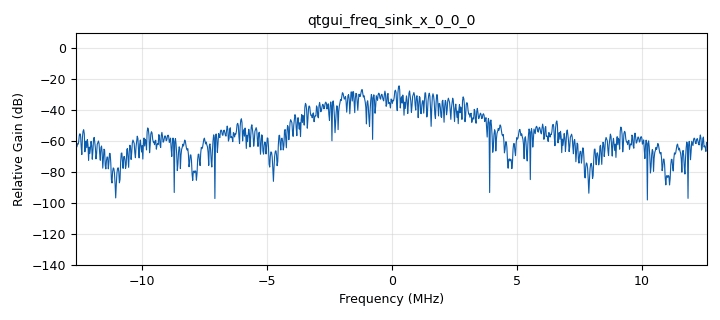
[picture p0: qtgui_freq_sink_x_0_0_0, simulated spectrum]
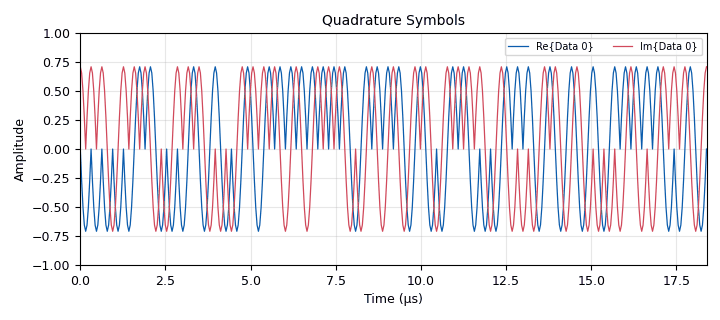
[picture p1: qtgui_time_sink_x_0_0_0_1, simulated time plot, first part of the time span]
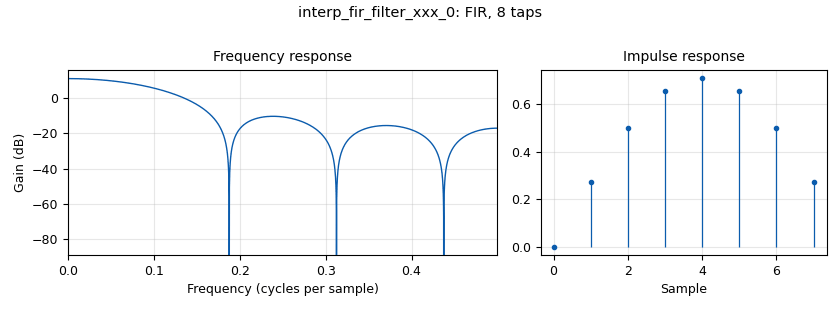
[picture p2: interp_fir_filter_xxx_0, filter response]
options:
  parameters:
    author: Jared Boone
    copyright: '(C) 2024 Jared Boone. License: Creative Commons Zero, version 1.0'
    description: Modulate a bitstream for transmission to a NABU Network Adapter "Cable Input"
    generate_options: qt_gui
    id: nabu_oqpsk_modulator
    output_language: python
    title: NABU Network OQPSK Modulator
  states: {}

blocks:
- name: delay
  id: variable_qtgui_range
  parameters:
    rangeType: int
    start: '-samples_per_symbol'
    step: '1'
    stop: samples_per_symbol
    value: samples_per_symbol // 2
  states: {}
- name: i_delay
  id: variable
  parameters:
    value: max(0, -delay)
  states: {}
- name: oqpsk_constellation
  id: variable_constellation
  parameters:
    comment: |-
      OQPSK constellation
      from Wikipedia
      (Inverted? 00 in -1-1j quadrant.)
    const_points: '[-1-1j, -1+1j, 1+1j, 1-1j]'
    dims: '1'
    normalization: digital.constellation.NO_NORMALIZATION
    precision: '8'
    rot_sym: '4'
    sym_map: '[0, 1, 3, 2]'
    type: calcdist
  states: {}
- name: oversample_factor
  id: variable
  parameters:
    value: '8'
  states: {}
- name: pulse_taps
  id: variable
  parameters:
    comment: Half-sine transmit pulse
    value: tx_digital_gain_factor * np.sin(np.pi * np.arange(samples_per_symbol)/samples_per_symbol)
  states: {}
- name: q_delay
  id: variable
  parameters:
    value: max(0, delay)
  states: {}
- name: sample_rate
  id: variable
  parameters:
    value: symbol_xtal * oversample_factor
  states: {}
- name: samples_per_symbol
  id: variable
  parameters:
    value: oversample_factor // symbol_xtal_div
  states: {}
- name: symbol_rate
  id: variable
  parameters:
    value: sample_rate / samples_per_symbol
  states: {}
- name: symbol_xtal
  id: variable
  parameters:
    value: 3.1555e6
  states: {}
- name: symbol_xtal_div
  id: variable
  parameters:
    value: '1'
  states: {}
- name: tx_digital_gain_db
  id: variable_qtgui_range
  parameters:
    rangeType: int
    start: '-50'
    step: '1'
    stop: '10'
    value: '-3'
  states: {}
- name: tx_digital_gain_factor
  id: variable
  parameters:
    value: math.pow(10, tx_digital_gain_db / 20)
  states: {}
- name: tx_frequency_hz
  id: variable
  parameters:
    value: tx_frequency_mhz * 1e6
  states: {}
- name: tx_frequency_mhz
  id: variable_qtgui_range
  parameters:
    start: '260'
    step: '0.01'
    stop: '280'
    value: '267'
  states: {}
- name: tx_gain_db
  id: variable_qtgui_range
  parameters:
    rangeType: int
    start: '0'
    step: '1'
    stop: '60'
    value: '30'
  states: {}
- name: analog_random_source_x_1
  id: analog_random_source_x
  parameters:
    max: '2'
    min: '0'
    num_samps: '1000'
    repeat: 'True'
    type: byte
  states: {state: disabled}
- name: blocks_add_const_vxx_0
  id: blocks_add_const_vxx
  parameters:
    const: '-1'
    type: float
  states: {}
- name: blocks_add_const_vxx_0_0
  id: blocks_add_const_vxx
  parameters:
    const: '-1'
    type: float
  states: {}
- name: blocks_char_to_float_0
  id: blocks_char_to_float
  parameters:
    scale: '0.5'
  states: {}
- name: blocks_char_to_float_0_0
  id: blocks_char_to_float
  parameters:
    scale: '0.5'
  states: {}
- name: blocks_complex_to_float_0_0
  id: blocks_complex_to_float
  parameters: {}
  states: {}
- name: blocks_delay_0
  id: blocks_delay
  parameters:
    delay: q_delay
    type: float
  states: {}
- name: blocks_delay_0_0
  id: blocks_delay
  parameters:
    delay: i_delay
    type: float
  states: {}
- name: blocks_delay_1
  id: blocks_delay
  parameters:
    delay: '2'
    type: byte
  states: {}
- name: blocks_float_to_complex_0
  id: blocks_float_to_complex
  parameters: {}
  states: {}
- name: blocks_float_to_complex_0_1
  id: blocks_float_to_complex
  parameters: {}
  states: {}
- name: blocks_pack_k_bits_bb_0
  id: blocks_pack_k_bits_bb
  parameters:
    k: '2'
  states: {}
- name: blocks_vector_source_x_0
  id: blocks_vector_source_x
  parameters:
    repeat: 'True'
    type: byte
    vector: (1,0,0,0,0,0,0,0,0,0,0,0,0,0,0,0,0,)
  states: {}
- name: blocks_vector_source_x_0_0
  id: blocks_vector_source_x
  parameters:
    repeat: 'True'
    type: complex
    vector: '[1+1j, 1+1j, -1+1j, 1-1j, -1-1j]'
  states: {state: disabled}
- name: blocks_vector_source_x_0_0_0
  id: blocks_vector_source_x
  parameters:
    repeat: 'True'
    type: byte
    vector: '[3, 3, 1, 2, 0]'
  states: {state: disabled}
- name: blocks_vector_source_x_0_0_0_0
  id: blocks_vector_source_x
  parameters:
    repeat: 'True'
    type: byte
    vector: '[0, 2, 1, 2, 3]'
  states: {state: disabled}
- name: blocks_vector_source_x_0_0_0_1
  id: blocks_vector_source_x
  parameters:
    repeat: 'True'
    type: byte
    vector: '[0, 2, 3, 2, 3]'
  states: {state: disabled}
- name: blocks_xor_xx_0
  id: blocks_xor_xx
  parameters:
    type: byte
  states: {}
- name: digital_constellation_encoder_bc_0
  id: digital_constellation_encoder_bc
  parameters:
    constellation: oqpsk_constellation
  states: {state: disabled}
- name: digital_diff_encoder_bb_0
  id: digital_diff_encoder_bb
  parameters:
    coding: digital.DIFF_DIFFERENTIAL
    modulus: '4'
  states: {state: disabled}
- name: digital_map_bb_0
  id: digital_map_bb
  parameters:
    comment: Bit 1
    map: '[0, 0, 1, 1]'
  states: {}
- name: digital_map_bb_0_0
  id: digital_map_bb
  parameters:
    comment: Bit 0
    map: '[0, 1, 0, 1]'
  states: {}
- name: digital_scrambler_bb_0
  id: digital_scrambler_bb
  parameters:
    comment: Polynomial x^20 + x^3 + 1
    len: '19'
    mask: '0b000100000000000000001'
    seed: '0'
  states: {}
- name: import_0
  id: import
  parameters:
    imports: import math
  states: {}
- name: import_0_0
  id: import
  parameters:
    imports: import numpy as np
  states: {}
- name: interp_fir_filter_xxx_0
  id: interp_fir_filter_xxx
  parameters:
    interp: samples_per_symbol
    taps: pulse_taps
    type: ccf
  states: {}
- name: qtgui_const_sink_x_0_0_0
  id: qtgui_const_sink_x
  parameters:
    size: '1024'
    type: complex
  states: {state: disabled}
- name: qtgui_freq_sink_x_0_0_0
  id: qtgui_freq_sink_x
  parameters:
    bw: sample_rate
    fc: '0'
    fftsize: '1024'
    type: complex
  states: {}
- name: qtgui_time_sink_x_0
  id: qtgui_time_sink_x
  parameters:
    ctrlpanel: 'True'
    nconnections: '2'
    size: '1024'
    srate: symbol_rate
    type: float
  states: {state: disabled}
- name: qtgui_time_sink_x_0_0_0_1
  id: qtgui_time_sink_x
  parameters:
    ctrlpanel: 'True'
    name: '"Quadrature Symbols"'
    size: '1024'
    srate: sample_rate
    type: complex
  states: {}
- name: uhd_usrp_sink_0
  id: uhd_usrp_sink
  parameters:
    ant0: '"TX/RX"'
    center_freq0: tx_frequency_hz
    gain0: tx_gain_db
    samp_rate: sample_rate
    sync: sync
    type: fc32
  states: {}

connections:
- [analog_random_source_x_1, '0', digital_scrambler_bb_0, '0']
- [blocks_add_const_vxx_0, '0', blocks_float_to_complex_0, '0']
- [blocks_add_const_vxx_0, '0', qtgui_time_sink_x_0, '0']
- [blocks_add_const_vxx_0_0, '0', blocks_float_to_complex_0, '1']
- [blocks_add_const_vxx_0_0, '0', qtgui_time_sink_x_0, '1']
- [blocks_char_to_float_0, '0', blocks_add_const_vxx_0, '0']
- [blocks_char_to_float_0_0, '0', blocks_add_const_vxx_0_0, '0']
- [blocks_complex_to_float_0_0, '0', blocks_delay_0_0, '0']
- [blocks_complex_to_float_0_0, '1', blocks_delay_0, '0']
- [blocks_delay_0, '0', blocks_float_to_complex_0_1, '1']
- [blocks_delay_0_0, '0', blocks_float_to_complex_0_1, '0']
- [blocks_delay_1, '0', blocks_xor_xx_0, '1']
- [blocks_float_to_complex_0, '0', interp_fir_filter_xxx_0, '0']
- [blocks_float_to_complex_0_1, '0', qtgui_const_sink_x_0_0_0, '0']
- [blocks_float_to_complex_0_1, '0', qtgui_freq_sink_x_0_0_0, '0']
- [blocks_float_to_complex_0_1, '0', qtgui_time_sink_x_0_0_0_1, '0']
- [blocks_float_to_complex_0_1, '0', uhd_usrp_sink_0, '0']
- [blocks_pack_k_bits_bb_0, '0', blocks_delay_1, '0']
- [blocks_pack_k_bits_bb_0, '0', blocks_xor_xx_0, '0']
- [blocks_pack_k_bits_bb_0, '0', digital_diff_encoder_bb_0, '0']
- [blocks_vector_source_x_0, '0', digital_scrambler_bb_0, '0']
- [blocks_vector_source_x_0_0, '0', interp_fir_filter_xxx_0, '0']
- [blocks_vector_source_x_0_0_0, '0', digital_map_bb_0, '0']
- [blocks_vector_source_x_0_0_0, '0', digital_map_bb_0_0, '0']
- [blocks_vector_source_x_0_0_0_0, '0', digital_diff_encoder_bb_0, '0']
- [blocks_vector_source_x_0_0_0_1, '0', blocks_delay_1, '0']
- [blocks_vector_source_x_0_0_0_1, '0', blocks_xor_xx_0, '0']
- [blocks_xor_xx_0, '0', digital_map_bb_0, '0']
- [blocks_xor_xx_0, '0', digital_map_bb_0_0, '0']
- [digital_constellation_encoder_bc_0, '0', interp_fir_filter_xxx_0, '0']
- [digital_diff_encoder_bb_0, '0', digital_constellation_encoder_bc_0, '0']
- [digital_map_bb_0, '0', blocks_char_to_float_0, '0']
- [digital_map_bb_0_0, '0', blocks_char_to_float_0_0, '0']
- [digital_scrambler_bb_0, '0', blocks_pack_k_bits_bb_0, '0']
- [interp_fir_filter_xxx_0, '0', blocks_complex_to_float_0_0, '0']

metadata:
  file_format: 1
  grc_version: 3.10.9.2
